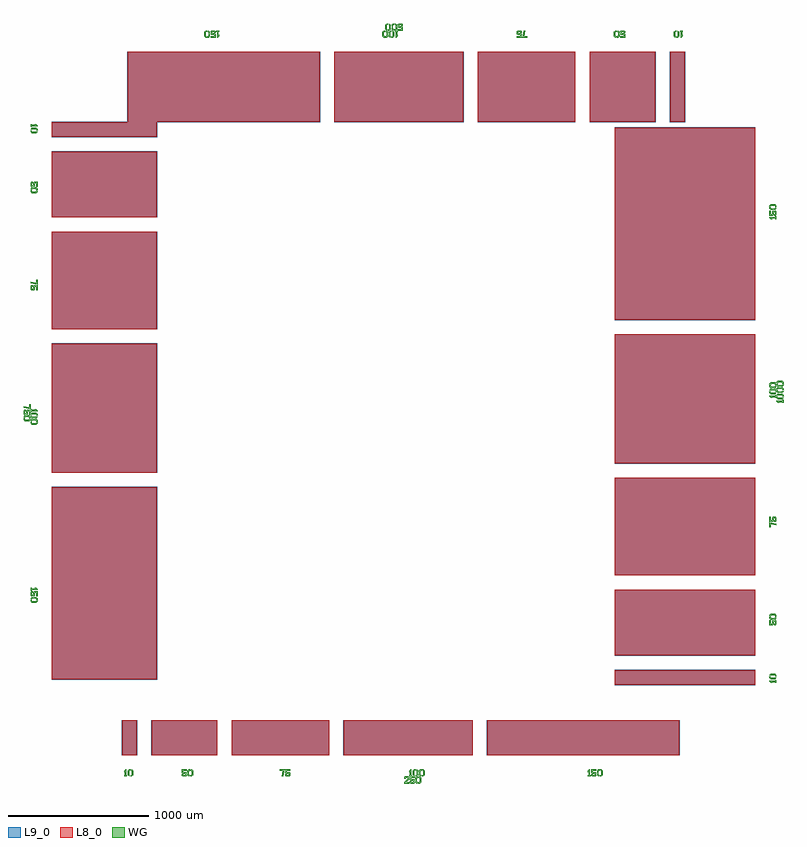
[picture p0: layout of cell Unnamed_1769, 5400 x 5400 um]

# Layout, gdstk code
from math import pi, radians
import gdstk
lib = gdstk.Library(unit=1e-6, precision=1e-09)
def R(c, l, rs):  # rectangles x0, y0, x1, y1
    for r in rs: c.add(gdstk.rectangle(r[:2], r[2:], *l))
def P(c, l, *ps):  # polygons
    for p in ps: c.add(gdstk.Polygon(p, *l))
WG = (1, 0)
L8_0 = (8, 0)
L9_0 = (9, 0)

unnamed_1767 = lib.new_cell('Unnamed_1767')

unnamed_1766 = lib.new_cell('Unnamed_1766')

unnamed_1763 = lib.new_cell('Unnamed_1763')

text_t1000_s50_p0_0_jlef = lib.new_cell('text_T1000_S50_P0_0_Jleft_L1_0')
P(text_t1000_s50_p0_0_jlef, WG, [(48.5,0),(51,10),(55,10),(60,15),(60,35),(55,40),(57.5,50),(60,50),(70,40),(70,10),(60,0)],
  [(93.5,0),(96,10),(100,10),(105,15),(105,35),(100,40),(102.5,50),(105,50),(115,40),(115,10),(105,0)],
  [(138.5,0),(141,10),(145,10),(150,15),(150,35),(145,40),(147.5,50),(150,50),(160,40),(160,10),(150,0)],
  [(40,0),(30,10),(30,40),(40,50),(51.5,50),(49,40),(45,40),(40,35),(40,15),(45,10),(42.5,0)],
  [(85,0),(75,10),(75,40),(85,50),(96.5,50),(94,40),(90,40),(85,35),(85,15),(90,10),(87.5,0)],
  [(130,0),(120,10),(120,40),(130,50),(141.5,50),(139,40),(135,40),(130,35),(130,15),(135,10),(132.5,0)],
  [(5,0),(5,10),(10,10),(10,30),(5,30),(5,40),(15,50),(20,50),(20,10),(25,10),(25,0)])

rectangle_s920_1000_l9__ = lib.new_cell('rectangle_S920_1000_L9__284379eb')
R(rectangle_s920_1000_l9__, L9_0, [(0,0,920,1000)])

text_t100_s50_p0_0_jleft = lib.new_cell('text_T100_S50_P0_0_Jleft_L1_0')
P(text_t100_s50_p0_0_jleft, WG, [(48.5,0),(51,10),(55,10),(60,15),(60,35),(55,40),(57.5,50),(60,50),(70,40),(70,10),(60,0)],
  [(93.5,0),(96,10),(100,10),(105,15),(105,35),(100,40),(102.5,50),(105,50),(115,40),(115,10),(105,0)],
  [(40,0),(30,10),(30,40),(40,50),(51.5,50),(49,40),(45,40),(40,35),(40,15),(45,10),(42.5,0)],
  [(85,0),(75,10),(75,40),(85,50),(96.5,50),(94,40),(90,40),(85,35),(85,15),(90,10),(87.5,0)],
  [(5,0),(5,10),(10,10),(10,30),(5,30),(5,40),(15,50),(20,50),(20,10),(25,10),(25,0)])

rectangle_s100_998_l8_0_ = lib.new_cell('rectangle_S100_998_L8_0_c306aa22')
R(rectangle_s100_998_l8_0_, L8_0, [(0,0,100,998)])

unnamed_1757 = lib.new_cell('Unnamed_1757')
unnamed_1757.add(gdstk.Reference(rectangle_s920_1000_l9__, (-2,0)))
unnamed_1757.add(gdstk.Reference(text_t100_s50_p0_0_jleft, (460,-150)))
unnamed_1757.add(gdstk.Reference(rectangle_s100_998_l8_0_, (0,0)))
unnamed_1757.add(gdstk.Reference(rectangle_s100_998_l8_0_, (102,0)))
unnamed_1757.add(gdstk.Reference(rectangle_s100_998_l8_0_, (204,0)))
unnamed_1757.add(gdstk.Reference(rectangle_s100_998_l8_0_, (306,0)))
unnamed_1757.add(gdstk.Reference(rectangle_s100_998_l8_0_, (408,0)))
unnamed_1757.add(gdstk.Reference(rectangle_s100_998_l8_0_, (510,0)))
unnamed_1757.add(gdstk.Reference(rectangle_s100_998_l8_0_, (612,0)))
unnamed_1757.add(gdstk.Reference(rectangle_s100_998_l8_0_, (714,0)))
unnamed_1757.add(gdstk.Reference(rectangle_s100_998_l8_0_, (816,0)))

rectangle_s695_1000_l9__ = lib.new_cell('rectangle_S695_1000_L9__77095997')
R(rectangle_s695_1000_l9__, L9_0, [(0,0,695,1000)])

text_t75_s50_p0_0_jleft_ = lib.new_cell('text_T75_S50_P0_0_Jleft_L1_0')
P(text_t75_s50_p0_0_jleft_, WG, [(50,0),(45,5),(45,15),(55,15),(55,10),(70,10),(70,20),(50,20),(45,25),(45,50),(80,50),(80,40),(55,40),(55,30),(75,30),(80,25),(80,5),(75,0)],
  [(20,0),(28,40),(5,40),(5,50),(40,50),(30,0)])

rectangle_s75_998_l8_0__ = lib.new_cell('rectangle_S75_998_L8_0__cc8ebacf')
R(rectangle_s75_998_l8_0__, L8_0, [(0,0,75,998)])

unnamed_1756 = lib.new_cell('Unnamed_1756')
unnamed_1756.add(gdstk.Reference(rectangle_s695_1000_l9__, (-2,0)))
unnamed_1756.add(gdstk.Reference(text_t75_s50_p0_0_jleft_, (335,-150)))
unnamed_1756.add(gdstk.Reference(rectangle_s75_998_l8_0__, (0,0)))
unnamed_1756.add(gdstk.Reference(rectangle_s75_998_l8_0__, (77,0)))
unnamed_1756.add(gdstk.Reference(rectangle_s75_998_l8_0__, (154,0)))
unnamed_1756.add(gdstk.Reference(rectangle_s75_998_l8_0__, (231,0)))
unnamed_1756.add(gdstk.Reference(rectangle_s75_998_l8_0__, (308,0)))
unnamed_1756.add(gdstk.Reference(rectangle_s75_998_l8_0__, (385,0)))
unnamed_1756.add(gdstk.Reference(rectangle_s75_998_l8_0__, (462,0)))
unnamed_1756.add(gdstk.Reference(rectangle_s75_998_l8_0__, (539,0)))
unnamed_1756.add(gdstk.Reference(rectangle_s75_998_l8_0__, (616,0)))

rectangle_s1370_1000_l9_ = lib.new_cell('rectangle_S1370_1000_L9_106310f3')
R(rectangle_s1370_1000_l9_, L9_0, [(0,0,1370,1000)])

text_t150_s50_p0_0_jleft = lib.new_cell('text_T150_S50_P0_0_Jleft_L1_0')
P(text_t150_s50_p0_0_jleft, WG, [(88.5,0),(91,10),(95,10),(100,15),(100,35),(95,40),(97.5,50),(100,50),(110,40),(110,10),(100,0)],
  [(80,0),(70,10),(70,40),(80,50),(91.5,50),(89,40),(85,40),(80,35),(80,15),(85,10),(82.5,0)],
  [(35,0),(30,5),(30,15),(40,15),(40,10),(55,10),(55,20),(35,20),(30,25),(30,50),(65,50),(65,40),(40,40),(40,30),(60,30),(65,25),(65,5),(60,0)],
  [(5,0),(5,10),(10,10),(10,30),(5,30),(5,40),(15,50),(20,50),(20,10),(25,10),(25,0)])

rectangle_s150_998_l8_0_ = lib.new_cell('rectangle_S150_998_L8_0_cd40ac17')
R(rectangle_s150_998_l8_0_, L8_0, [(0,0,150,998)])

unnamed_1758 = lib.new_cell('Unnamed_1758')
unnamed_1758.add(gdstk.Reference(rectangle_s1370_1000_l9_, (-2,0)))
unnamed_1758.add(gdstk.Reference(text_t150_s50_p0_0_jleft, (710,-150)))
unnamed_1758.add(gdstk.Reference(rectangle_s150_998_l8_0_, (0,0)))
unnamed_1758.add(gdstk.Reference(rectangle_s150_998_l8_0_, (152,0)))
unnamed_1758.add(gdstk.Reference(rectangle_s150_998_l8_0_, (304,0)))
unnamed_1758.add(gdstk.Reference(rectangle_s150_998_l8_0_, (456,0)))
unnamed_1758.add(gdstk.Reference(rectangle_s150_998_l8_0_, (608,0)))
unnamed_1758.add(gdstk.Reference(rectangle_s150_998_l8_0_, (760,0)))
unnamed_1758.add(gdstk.Reference(rectangle_s150_998_l8_0_, (912,0)))
unnamed_1758.add(gdstk.Reference(rectangle_s150_998_l8_0_, (1064,0)))
unnamed_1758.add(gdstk.Reference(rectangle_s150_998_l8_0_, (1216,0)))

rectangle_s470_1000_l9__ = lib.new_cell('rectangle_S470_1000_L9__a4fb5179')
R(rectangle_s470_1000_l9__, L9_0, [(0,0,470,1000)])

text_t50_s50_p0_0_jleft_ = lib.new_cell('text_T50_S50_P0_0_Jleft_L1_0')
P(text_t50_s50_p0_0_jleft_, WG, [(63.5,0),(66,10),(70,10),(75,15),(75,35),(70,40),(72.5,50),(75,50),(85,40),(85,10),(75,0)],
  [(55,0),(45,10),(45,40),(55,50),(66.5,50),(64,40),(60,40),(55,35),(55,15),(60,10),(57.5,0)],
  [(10,0),(5,5),(5,15),(15,15),(15,10),(30,10),(30,20),(10,20),(5,25),(5,50),(40,50),(40,40),(15,40),(15,30),(35,30),(40,25),(40,5),(35,0)])

rectangle_s50_998_l8_0__ = lib.new_cell('rectangle_S50_998_L8_0__a3cc393b')
R(rectangle_s50_998_l8_0__, L8_0, [(0,0,50,998)])

unnamed_1755 = lib.new_cell('Unnamed_1755')
unnamed_1755.add(gdstk.Reference(rectangle_s470_1000_l9__, (-2,0)))
unnamed_1755.add(gdstk.Reference(text_t50_s50_p0_0_jleft_, (210,-150)))
unnamed_1755.add(gdstk.Reference(rectangle_s50_998_l8_0__, (0,0)))
unnamed_1755.add(gdstk.Reference(rectangle_s50_998_l8_0__, (52,0)))
unnamed_1755.add(gdstk.Reference(rectangle_s50_998_l8_0__, (104,0)))
unnamed_1755.add(gdstk.Reference(rectangle_s50_998_l8_0__, (156,0)))
unnamed_1755.add(gdstk.Reference(rectangle_s50_998_l8_0__, (208,0)))
unnamed_1755.add(gdstk.Reference(rectangle_s50_998_l8_0__, (260,0)))
unnamed_1755.add(gdstk.Reference(rectangle_s50_998_l8_0__, (312,0)))
unnamed_1755.add(gdstk.Reference(rectangle_s50_998_l8_0__, (364,0)))
unnamed_1755.add(gdstk.Reference(rectangle_s50_998_l8_0__, (416,0)))

rectangle_s110_1000_l9__ = lib.new_cell('rectangle_S110_1000_L9__b1e598cb')
R(rectangle_s110_1000_l9__, L9_0, [(0,0,110,1000)])

text_t10_s50_p0_0_jleft_ = lib.new_cell('text_T10_S50_P0_0_Jleft_L1_0')
P(text_t10_s50_p0_0_jleft_, WG, [(48.5,0),(51,10),(55,10),(60,15),(60,35),(55,40),(57.5,50),(60,50),(70,40),(70,10),(60,0)],
  [(40,0),(30,10),(30,40),(40,50),(51.5,50),(49,40),(45,40),(40,35),(40,15),(45,10),(42.5,0)],
  [(5,0),(5,10),(10,10),(10,30),(5,30),(5,40),(15,50),(20,50),(20,10),(25,10),(25,0)])

rectangle_s10_998_l8_0__ = lib.new_cell('rectangle_S10_998_L8_0__618c10ad')
R(rectangle_s10_998_l8_0__, L8_0, [(0,0,10,998)])

unnamed_1754 = lib.new_cell('Unnamed_1754')
unnamed_1754.add(gdstk.Reference(rectangle_s110_1000_l9__, (-2,0)))
unnamed_1754.add(gdstk.Reference(text_t10_s50_p0_0_jleft_, (10,-150)))
unnamed_1754.add(gdstk.Reference(rectangle_s10_998_l8_0__, (0,0)))
unnamed_1754.add(gdstk.Reference(rectangle_s10_998_l8_0__, (12,0)))
unnamed_1754.add(gdstk.Reference(rectangle_s10_998_l8_0__, (24,0)))
unnamed_1754.add(gdstk.Reference(rectangle_s10_998_l8_0__, (36,0)))
unnamed_1754.add(gdstk.Reference(rectangle_s10_998_l8_0__, (48,0)))
unnamed_1754.add(gdstk.Reference(rectangle_s10_998_l8_0__, (60,0)))
unnamed_1754.add(gdstk.Reference(rectangle_s10_998_l8_0__, (72,0)))
unnamed_1754.add(gdstk.Reference(rectangle_s10_998_l8_0__, (84,0)))
unnamed_1754.add(gdstk.Reference(rectangle_s10_998_l8_0__, (96,0)))

unnamed_1762 = lib.new_cell('Unnamed_1762')
unnamed_1762.add(gdstk.Reference(text_t1000_s50_p0_0_jlef, (2500,-200)))
unnamed_1762.add(gdstk.Reference(unnamed_1757, (2075,0)))
unnamed_1762.add(gdstk.Reference(unnamed_1756, (1280,0)))
unnamed_1762.add(gdstk.Reference(unnamed_1758, (3095,0)))
unnamed_1762.add(gdstk.Reference(unnamed_1755, (710,0)))
unnamed_1762.add(gdstk.Reference(unnamed_1754, (500,0)))

unnamed_1764 = lib.new_cell('Unnamed_1764')

rectangle_s110_750_l9_0_ = lib.new_cell('rectangle_S110_750_L9_0_0d1aa5e2')
R(rectangle_s110_750_l9_0_, L9_0, [(0,0,110,750)])

rectangle_s10_748_l8_0__ = lib.new_cell('rectangle_S10_748_L8_0__afdd4900')
R(rectangle_s10_748_l8_0__, L8_0, [(0,0,10,748)])

unnamed_1749 = lib.new_cell('Unnamed_1749')
unnamed_1749.add(gdstk.Reference(rectangle_s110_750_l9_0_, (-2,0)))
unnamed_1749.add(gdstk.Reference(text_t10_s50_p0_0_jleft_, (10,-150)))
unnamed_1749.add(gdstk.Reference(rectangle_s10_748_l8_0__, (0,0)))
unnamed_1749.add(gdstk.Reference(rectangle_s10_748_l8_0__, (12,0)))
unnamed_1749.add(gdstk.Reference(rectangle_s10_748_l8_0__, (24,0)))
unnamed_1749.add(gdstk.Reference(rectangle_s10_748_l8_0__, (36,0)))
unnamed_1749.add(gdstk.Reference(rectangle_s10_748_l8_0__, (48,0)))
unnamed_1749.add(gdstk.Reference(rectangle_s10_748_l8_0__, (60,0)))
unnamed_1749.add(gdstk.Reference(rectangle_s10_748_l8_0__, (72,0)))
unnamed_1749.add(gdstk.Reference(rectangle_s10_748_l8_0__, (84,0)))
unnamed_1749.add(gdstk.Reference(rectangle_s10_748_l8_0__, (96,0)))

rectangle_s920_750_l9_0_ = lib.new_cell('rectangle_S920_750_L9_0_32778c05')
R(rectangle_s920_750_l9_0_, L9_0, [(0,0,920,750)])

rectangle_s100_748_l8_0_ = lib.new_cell('rectangle_S100_748_L8_0_e52924da')
R(rectangle_s100_748_l8_0_, L8_0, [(0,0,100,748)])

unnamed_1752 = lib.new_cell('Unnamed_1752')
unnamed_1752.add(gdstk.Reference(rectangle_s920_750_l9_0_, (-2,0)))
unnamed_1752.add(gdstk.Reference(text_t100_s50_p0_0_jleft, (460,-150)))
unnamed_1752.add(gdstk.Reference(rectangle_s100_748_l8_0_, (0,0)))
unnamed_1752.add(gdstk.Reference(rectangle_s100_748_l8_0_, (102,0)))
unnamed_1752.add(gdstk.Reference(rectangle_s100_748_l8_0_, (204,0)))
unnamed_1752.add(gdstk.Reference(rectangle_s100_748_l8_0_, (306,0)))
unnamed_1752.add(gdstk.Reference(rectangle_s100_748_l8_0_, (408,0)))
unnamed_1752.add(gdstk.Reference(rectangle_s100_748_l8_0_, (510,0)))
unnamed_1752.add(gdstk.Reference(rectangle_s100_748_l8_0_, (612,0)))
unnamed_1752.add(gdstk.Reference(rectangle_s100_748_l8_0_, (714,0)))
unnamed_1752.add(gdstk.Reference(rectangle_s100_748_l8_0_, (816,0)))

rectangle_s695_750_l9_0_ = lib.new_cell('rectangle_S695_750_L9_0_14645c84')
R(rectangle_s695_750_l9_0_, L9_0, [(0,0,695,750)])

rectangle_s75_748_l8_0__ = lib.new_cell('rectangle_S75_748_L8_0__21cc7b18')
R(rectangle_s75_748_l8_0__, L8_0, [(0,0,75,748)])

unnamed_1751 = lib.new_cell('Unnamed_1751')
unnamed_1751.add(gdstk.Reference(rectangle_s695_750_l9_0_, (-2,0)))
unnamed_1751.add(gdstk.Reference(text_t75_s50_p0_0_jleft_, (335,-150)))
unnamed_1751.add(gdstk.Reference(rectangle_s75_748_l8_0__, (0,0)))
unnamed_1751.add(gdstk.Reference(rectangle_s75_748_l8_0__, (77,0)))
unnamed_1751.add(gdstk.Reference(rectangle_s75_748_l8_0__, (154,0)))
unnamed_1751.add(gdstk.Reference(rectangle_s75_748_l8_0__, (231,0)))
unnamed_1751.add(gdstk.Reference(rectangle_s75_748_l8_0__, (308,0)))
unnamed_1751.add(gdstk.Reference(rectangle_s75_748_l8_0__, (385,0)))
unnamed_1751.add(gdstk.Reference(rectangle_s75_748_l8_0__, (462,0)))
unnamed_1751.add(gdstk.Reference(rectangle_s75_748_l8_0__, (539,0)))
unnamed_1751.add(gdstk.Reference(rectangle_s75_748_l8_0__, (616,0)))

rectangle_s1370_750_l9__ = lib.new_cell('rectangle_S1370_750_L9__3fc04380')
R(rectangle_s1370_750_l9__, L9_0, [(0,0,1370,750)])

rectangle_s150_748_l8_0_ = lib.new_cell('rectangle_S150_748_L8_0_392cc59f')
R(rectangle_s150_748_l8_0_, L8_0, [(0,0,150,748)])

unnamed_1753 = lib.new_cell('Unnamed_1753')
unnamed_1753.add(gdstk.Reference(rectangle_s1370_750_l9__, (-2,0)))
unnamed_1753.add(gdstk.Reference(text_t150_s50_p0_0_jleft, (710,-150)))
unnamed_1753.add(gdstk.Reference(rectangle_s150_748_l8_0_, (0,0)))
unnamed_1753.add(gdstk.Reference(rectangle_s150_748_l8_0_, (152,0)))
unnamed_1753.add(gdstk.Reference(rectangle_s150_748_l8_0_, (304,0)))
unnamed_1753.add(gdstk.Reference(rectangle_s150_748_l8_0_, (456,0)))
unnamed_1753.add(gdstk.Reference(rectangle_s150_748_l8_0_, (608,0)))
unnamed_1753.add(gdstk.Reference(rectangle_s150_748_l8_0_, (760,0)))
unnamed_1753.add(gdstk.Reference(rectangle_s150_748_l8_0_, (912,0)))
unnamed_1753.add(gdstk.Reference(rectangle_s150_748_l8_0_, (1064,0)))
unnamed_1753.add(gdstk.Reference(rectangle_s150_748_l8_0_, (1216,0)))

text_t750_s50_p0_0_jleft = lib.new_cell('text_T750_S50_P0_0_Jleft_L1_0')
P(text_t750_s50_p0_0_jleft, WG, [(95,0),(85,10),(85,40),(95,50),(106.5,50),(104,40),(100,40),(95,35),(95,15),(100,10),(97.5,0)],
  [(50,0),(45,5),(45,15),(55,15),(55,10),(70,10),(70,20),(50,20),(45,25),(45,50),(80,50),(80,40),(55,40),(55,30),(75,30),(80,25),(80,5),(75,0)],
  [(103.5,0),(106,10),(110,10),(115,15),(115,35),(110,40),(112.5,50),(115,50),(125,40),(125,10),(115,0)],
  [(20,0),(28,40),(5,40),(5,50),(40,50),(30,0)])

rectangle_s470_750_l9_0_ = lib.new_cell('rectangle_S470_750_L9_0_3e5a7c6d')
R(rectangle_s470_750_l9_0_, L9_0, [(0,0,470,750)])

rectangle_s50_748_l8_0__ = lib.new_cell('rectangle_S50_748_L8_0__e69bb82a')
R(rectangle_s50_748_l8_0__, L8_0, [(0,0,50,748)])

unnamed_1750 = lib.new_cell('Unnamed_1750')
unnamed_1750.add(gdstk.Reference(rectangle_s470_750_l9_0_, (-2,0)))
unnamed_1750.add(gdstk.Reference(text_t50_s50_p0_0_jleft_, (210,-150)))
unnamed_1750.add(gdstk.Reference(rectangle_s50_748_l8_0__, (0,0)))
unnamed_1750.add(gdstk.Reference(rectangle_s50_748_l8_0__, (52,0)))
unnamed_1750.add(gdstk.Reference(rectangle_s50_748_l8_0__, (104,0)))
unnamed_1750.add(gdstk.Reference(rectangle_s50_748_l8_0__, (156,0)))
unnamed_1750.add(gdstk.Reference(rectangle_s50_748_l8_0__, (208,0)))
unnamed_1750.add(gdstk.Reference(rectangle_s50_748_l8_0__, (260,0)))
unnamed_1750.add(gdstk.Reference(rectangle_s50_748_l8_0__, (312,0)))
unnamed_1750.add(gdstk.Reference(rectangle_s50_748_l8_0__, (364,0)))
unnamed_1750.add(gdstk.Reference(rectangle_s50_748_l8_0__, (416,0)))

unnamed_1761 = lib.new_cell('Unnamed_1761')
unnamed_1761.add(gdstk.Reference(unnamed_1749, (500,0)))
unnamed_1761.add(gdstk.Reference(unnamed_1752, (2075,0)))
unnamed_1761.add(gdstk.Reference(unnamed_1751, (1280,0)))
unnamed_1761.add(gdstk.Reference(unnamed_1753, (3095,0)))
unnamed_1761.add(gdstk.Reference(text_t750_s50_p0_0_jleft, (2500,-200)))
unnamed_1761.add(gdstk.Reference(unnamed_1750, (710,0)))

rectangle_s920_500_l9_0_ = lib.new_cell('rectangle_S920_500_L9_0_e7e50f14')
R(rectangle_s920_500_l9_0_, L9_0, [(0,0,920,500)])

rectangle_s100_498_l8_0_ = lib.new_cell('rectangle_S100_498_L8_0_8e44272a')
R(rectangle_s100_498_l8_0_, L8_0, [(0,0,100,498)])

unnamed_1747 = lib.new_cell('Unnamed_1747')
unnamed_1747.add(gdstk.Reference(rectangle_s920_500_l9_0_, (-2,0)))
unnamed_1747.add(gdstk.Reference(text_t100_s50_p0_0_jleft, (460,-150)))
unnamed_1747.add(gdstk.Reference(rectangle_s100_498_l8_0_, (0,0)))
unnamed_1747.add(gdstk.Reference(rectangle_s100_498_l8_0_, (102,0)))
unnamed_1747.add(gdstk.Reference(rectangle_s100_498_l8_0_, (204,0)))
unnamed_1747.add(gdstk.Reference(rectangle_s100_498_l8_0_, (306,0)))
unnamed_1747.add(gdstk.Reference(rectangle_s100_498_l8_0_, (408,0)))
unnamed_1747.add(gdstk.Reference(rectangle_s100_498_l8_0_, (510,0)))
unnamed_1747.add(gdstk.Reference(rectangle_s100_498_l8_0_, (612,0)))
unnamed_1747.add(gdstk.Reference(rectangle_s100_498_l8_0_, (714,0)))
unnamed_1747.add(gdstk.Reference(rectangle_s100_498_l8_0_, (816,0)))

rectangle_s695_500_l9_0_ = lib.new_cell('rectangle_S695_500_L9_0_1ae41fd4')
R(rectangle_s695_500_l9_0_, L9_0, [(0,0,695,500)])

rectangle_s75_498_l8_0__ = lib.new_cell('rectangle_S75_498_L8_0__5f6cecd9')
R(rectangle_s75_498_l8_0__, L8_0, [(0,0,75,498)])

unnamed_1746 = lib.new_cell('Unnamed_1746')
unnamed_1746.add(gdstk.Reference(rectangle_s695_500_l9_0_, (-2,0)))
unnamed_1746.add(gdstk.Reference(text_t75_s50_p0_0_jleft_, (335,-150)))
unnamed_1746.add(gdstk.Reference(rectangle_s75_498_l8_0__, (0,0)))
unnamed_1746.add(gdstk.Reference(rectangle_s75_498_l8_0__, (77,0)))
unnamed_1746.add(gdstk.Reference(rectangle_s75_498_l8_0__, (154,0)))
unnamed_1746.add(gdstk.Reference(rectangle_s75_498_l8_0__, (231,0)))
unnamed_1746.add(gdstk.Reference(rectangle_s75_498_l8_0__, (308,0)))
unnamed_1746.add(gdstk.Reference(rectangle_s75_498_l8_0__, (385,0)))
unnamed_1746.add(gdstk.Reference(rectangle_s75_498_l8_0__, (462,0)))
unnamed_1746.add(gdstk.Reference(rectangle_s75_498_l8_0__, (539,0)))
unnamed_1746.add(gdstk.Reference(rectangle_s75_498_l8_0__, (616,0)))

text_t500_s50_p0_0_jleft = lib.new_cell('text_T500_S50_P0_0_Jleft_L1_0')
P(text_t500_s50_p0_0_jleft, WG, [(63.5,0),(66,10),(70,10),(75,15),(75,35),(70,40),(72.5,50),(75,50),(85,40),(85,10),(75,0)],
  [(108.5,0),(111,10),(115,10),(120,15),(120,35),(115,40),(117.5,50),(120,50),(130,40),(130,10),(120,0)],
  [(55,0),(45,10),(45,40),(55,50),(66.5,50),(64,40),(60,40),(55,35),(55,15),(60,10),(57.5,0)],
  [(100,0),(90,10),(90,40),(100,50),(111.5,50),(109,40),(105,40),(100,35),(100,15),(105,10),(102.5,0)],
  [(10,0),(5,5),(5,15),(15,15),(15,10),(30,10),(30,20),(10,20),(5,25),(5,50),(40,50),(40,40),(15,40),(15,30),(35,30),(40,25),(40,5),(35,0)])

rectangle_s1370_500_l9__ = lib.new_cell('rectangle_S1370_500_L9__5971b1e9')
R(rectangle_s1370_500_l9__, L9_0, [(0,0,1370,500)])

rectangle_s150_498_l8_0_ = lib.new_cell('rectangle_S150_498_L8_0_3344f8a4')
R(rectangle_s150_498_l8_0_, L8_0, [(0,0,150,498)])

unnamed_1748 = lib.new_cell('Unnamed_1748')
unnamed_1748.add(gdstk.Reference(text_t150_s50_p0_0_jleft, (710,-150)))
unnamed_1748.add(gdstk.Reference(rectangle_s1370_500_l9__, (-2,0)))
unnamed_1748.add(gdstk.Reference(rectangle_s150_498_l8_0_, (0,0)))
unnamed_1748.add(gdstk.Reference(rectangle_s150_498_l8_0_, (152,0)))
unnamed_1748.add(gdstk.Reference(rectangle_s150_498_l8_0_, (304,0)))
unnamed_1748.add(gdstk.Reference(rectangle_s150_498_l8_0_, (456,0)))
unnamed_1748.add(gdstk.Reference(rectangle_s150_498_l8_0_, (608,0)))
unnamed_1748.add(gdstk.Reference(rectangle_s150_498_l8_0_, (760,0)))
unnamed_1748.add(gdstk.Reference(rectangle_s150_498_l8_0_, (912,0)))
unnamed_1748.add(gdstk.Reference(rectangle_s150_498_l8_0_, (1064,0)))
unnamed_1748.add(gdstk.Reference(rectangle_s150_498_l8_0_, (1216,0)))

rectangle_s470_500_l9_0_ = lib.new_cell('rectangle_S470_500_L9_0_f8156cb1')
R(rectangle_s470_500_l9_0_, L9_0, [(0,0,470,500)])

rectangle_s50_498_l8_0__ = lib.new_cell('rectangle_S50_498_L8_0__cadecadc')
R(rectangle_s50_498_l8_0__, L8_0, [(0,0,50,498)])

unnamed_1745 = lib.new_cell('Unnamed_1745')
unnamed_1745.add(gdstk.Reference(rectangle_s470_500_l9_0_, (-2,0)))
unnamed_1745.add(gdstk.Reference(text_t50_s50_p0_0_jleft_, (210,-150)))
unnamed_1745.add(gdstk.Reference(rectangle_s50_498_l8_0__, (0,0)))
unnamed_1745.add(gdstk.Reference(rectangle_s50_498_l8_0__, (52,0)))
unnamed_1745.add(gdstk.Reference(rectangle_s50_498_l8_0__, (104,0)))
unnamed_1745.add(gdstk.Reference(rectangle_s50_498_l8_0__, (156,0)))
unnamed_1745.add(gdstk.Reference(rectangle_s50_498_l8_0__, (208,0)))
unnamed_1745.add(gdstk.Reference(rectangle_s50_498_l8_0__, (260,0)))
unnamed_1745.add(gdstk.Reference(rectangle_s50_498_l8_0__, (312,0)))
unnamed_1745.add(gdstk.Reference(rectangle_s50_498_l8_0__, (364,0)))
unnamed_1745.add(gdstk.Reference(rectangle_s50_498_l8_0__, (416,0)))

rectangle_s110_500_l9_0_ = lib.new_cell('rectangle_S110_500_L9_0_3497d986')
R(rectangle_s110_500_l9_0_, L9_0, [(0,0,110,500)])

rectangle_s10_498_l8_0__ = lib.new_cell('rectangle_S10_498_L8_0__ad3ec932')
R(rectangle_s10_498_l8_0__, L8_0, [(0,0,10,498)])

unnamed_1744 = lib.new_cell('Unnamed_1744')
unnamed_1744.add(gdstk.Reference(rectangle_s110_500_l9_0_, (-2,0)))
unnamed_1744.add(gdstk.Reference(text_t10_s50_p0_0_jleft_, (10,-150)))
unnamed_1744.add(gdstk.Reference(rectangle_s10_498_l8_0__, (0,0)))
unnamed_1744.add(gdstk.Reference(rectangle_s10_498_l8_0__, (12,0)))
unnamed_1744.add(gdstk.Reference(rectangle_s10_498_l8_0__, (24,0)))
unnamed_1744.add(gdstk.Reference(rectangle_s10_498_l8_0__, (36,0)))
unnamed_1744.add(gdstk.Reference(rectangle_s10_498_l8_0__, (48,0)))
unnamed_1744.add(gdstk.Reference(rectangle_s10_498_l8_0__, (60,0)))
unnamed_1744.add(gdstk.Reference(rectangle_s10_498_l8_0__, (72,0)))
unnamed_1744.add(gdstk.Reference(rectangle_s10_498_l8_0__, (84,0)))
unnamed_1744.add(gdstk.Reference(rectangle_s10_498_l8_0__, (96,0)))

unnamed_1760 = lib.new_cell('Unnamed_1760')
unnamed_1760.add(gdstk.Reference(unnamed_1747, (2075,0)))
unnamed_1760.add(gdstk.Reference(unnamed_1746, (1280,0)))
unnamed_1760.add(gdstk.Reference(text_t500_s50_p0_0_jleft, (2500,-200)))
unnamed_1760.add(gdstk.Reference(unnamed_1748, (3095,0)))
unnamed_1760.add(gdstk.Reference(unnamed_1745, (710,0)))
unnamed_1760.add(gdstk.Reference(unnamed_1744, (500,0)))

unnamed_1768 = lib.new_cell('Unnamed_1768')

unnamed_1765 = lib.new_cell('Unnamed_1765')

text_t250_s50_p0_0_jleft = lib.new_cell('text_T250_S50_P0_0_Jleft_L1_0')
P(text_t250_s50_p0_0_jleft, WG, [(95,0),(85,10),(85,40),(95,50),(106.5,50),(104,40),(100,40),(95,35),(95,15),(100,10),(97.5,0)],
  [(50,0),(45,5),(45,15),(55,15),(55,10),(70,10),(70,20),(50,20),(45,25),(45,50),(80,50),(80,40),(55,40),(55,30),(75,30),(80,25),(80,5),(75,0)],
  [(103.5,0),(106,10),(110,10),(115,15),(115,35),(110,40),(112.5,50),(115,50),(125,40),(125,10),(115,0)],
  [(5,0),(5,10),(30,35),(30,40),(15,40),(15,35),(5,35),(5,45),(10,50),(35,50),(40,45),(40,30),(20,10),(40,10),(40,0)])

rectangle_s1370_250_l9__ = lib.new_cell('rectangle_S1370_250_L9__a3b011a3')
R(rectangle_s1370_250_l9__, L9_0, [(0,0,1370,250)])

rectangle_s150_248_l8_0_ = lib.new_cell('rectangle_S150_248_L8_0_45914063')
R(rectangle_s150_248_l8_0_, L8_0, [(0,0,150,248)])

unnamed_1743 = lib.new_cell('Unnamed_1743')
unnamed_1743.add(gdstk.Reference(rectangle_s1370_250_l9__, (-2,0)))
unnamed_1743.add(gdstk.Reference(text_t150_s50_p0_0_jleft, (710,-150)))
unnamed_1743.add(gdstk.Reference(rectangle_s150_248_l8_0_, (0,0)))
unnamed_1743.add(gdstk.Reference(rectangle_s150_248_l8_0_, (152,0)))
unnamed_1743.add(gdstk.Reference(rectangle_s150_248_l8_0_, (304,0)))
unnamed_1743.add(gdstk.Reference(rectangle_s150_248_l8_0_, (456,0)))
unnamed_1743.add(gdstk.Reference(rectangle_s150_248_l8_0_, (608,0)))
unnamed_1743.add(gdstk.Reference(rectangle_s150_248_l8_0_, (760,0)))
unnamed_1743.add(gdstk.Reference(rectangle_s150_248_l8_0_, (912,0)))
unnamed_1743.add(gdstk.Reference(rectangle_s150_248_l8_0_, (1064,0)))
unnamed_1743.add(gdstk.Reference(rectangle_s150_248_l8_0_, (1216,0)))

rectangle_s695_250_l9_0_ = lib.new_cell('rectangle_S695_250_L9_0_e4008ba6')
R(rectangle_s695_250_l9_0_, L9_0, [(0,0,695,250)])

rectangle_s75_248_l8_0__ = lib.new_cell('rectangle_S75_248_L8_0__2b17ab04')
R(rectangle_s75_248_l8_0__, L8_0, [(0,0,75,248)])

unnamed_1741 = lib.new_cell('Unnamed_1741')
unnamed_1741.add(gdstk.Reference(rectangle_s695_250_l9_0_, (-2,0)))
unnamed_1741.add(gdstk.Reference(text_t75_s50_p0_0_jleft_, (335,-150)))
unnamed_1741.add(gdstk.Reference(rectangle_s75_248_l8_0__, (0,0)))
unnamed_1741.add(gdstk.Reference(rectangle_s75_248_l8_0__, (77,0)))
unnamed_1741.add(gdstk.Reference(rectangle_s75_248_l8_0__, (154,0)))
unnamed_1741.add(gdstk.Reference(rectangle_s75_248_l8_0__, (231,0)))
unnamed_1741.add(gdstk.Reference(rectangle_s75_248_l8_0__, (308,0)))
unnamed_1741.add(gdstk.Reference(rectangle_s75_248_l8_0__, (385,0)))
unnamed_1741.add(gdstk.Reference(rectangle_s75_248_l8_0__, (462,0)))
unnamed_1741.add(gdstk.Reference(rectangle_s75_248_l8_0__, (539,0)))
unnamed_1741.add(gdstk.Reference(rectangle_s75_248_l8_0__, (616,0)))

rectangle_s470_250_l9_0_ = lib.new_cell('rectangle_S470_250_L9_0_21b068b2')
R(rectangle_s470_250_l9_0_, L9_0, [(0,0,470,250)])

rectangle_s50_248_l8_0__ = lib.new_cell('rectangle_S50_248_L8_0__6a217ae2')
R(rectangle_s50_248_l8_0__, L8_0, [(0,0,50,248)])

unnamed_1740 = lib.new_cell('Unnamed_1740')
unnamed_1740.add(gdstk.Reference(text_t50_s50_p0_0_jleft_, (210,-150)))
unnamed_1740.add(gdstk.Reference(rectangle_s470_250_l9_0_, (-2,0)))
unnamed_1740.add(gdstk.Reference(rectangle_s50_248_l8_0__, (0,0)))
unnamed_1740.add(gdstk.Reference(rectangle_s50_248_l8_0__, (52,0)))
unnamed_1740.add(gdstk.Reference(rectangle_s50_248_l8_0__, (104,0)))
unnamed_1740.add(gdstk.Reference(rectangle_s50_248_l8_0__, (156,0)))
unnamed_1740.add(gdstk.Reference(rectangle_s50_248_l8_0__, (208,0)))
unnamed_1740.add(gdstk.Reference(rectangle_s50_248_l8_0__, (260,0)))
unnamed_1740.add(gdstk.Reference(rectangle_s50_248_l8_0__, (312,0)))
unnamed_1740.add(gdstk.Reference(rectangle_s50_248_l8_0__, (364,0)))
unnamed_1740.add(gdstk.Reference(rectangle_s50_248_l8_0__, (416,0)))

rectangle_s920_250_l9_0_ = lib.new_cell('rectangle_S920_250_L9_0_6d8bc743')
R(rectangle_s920_250_l9_0_, L9_0, [(0,0,920,250)])

rectangle_s100_248_l8_0_ = lib.new_cell('rectangle_S100_248_L8_0_ec6efe2a')
R(rectangle_s100_248_l8_0_, L8_0, [(0,0,100,248)])

unnamed_1742 = lib.new_cell('Unnamed_1742')
unnamed_1742.add(gdstk.Reference(rectangle_s920_250_l9_0_, (-2,0)))
unnamed_1742.add(gdstk.Reference(text_t100_s50_p0_0_jleft, (460,-150)))
unnamed_1742.add(gdstk.Reference(rectangle_s100_248_l8_0_, (0,0)))
unnamed_1742.add(gdstk.Reference(rectangle_s100_248_l8_0_, (102,0)))
unnamed_1742.add(gdstk.Reference(rectangle_s100_248_l8_0_, (204,0)))
unnamed_1742.add(gdstk.Reference(rectangle_s100_248_l8_0_, (306,0)))
unnamed_1742.add(gdstk.Reference(rectangle_s100_248_l8_0_, (408,0)))
unnamed_1742.add(gdstk.Reference(rectangle_s100_248_l8_0_, (510,0)))
unnamed_1742.add(gdstk.Reference(rectangle_s100_248_l8_0_, (612,0)))
unnamed_1742.add(gdstk.Reference(rectangle_s100_248_l8_0_, (714,0)))
unnamed_1742.add(gdstk.Reference(rectangle_s100_248_l8_0_, (816,0)))

rectangle_s110_250_l9_0_ = lib.new_cell('rectangle_S110_250_L9_0_ed3c4817')
R(rectangle_s110_250_l9_0_, L9_0, [(0,0,110,250)])

rectangle_s10_248_l8_0__ = lib.new_cell('rectangle_S10_248_L8_0__7390707e')
R(rectangle_s10_248_l8_0__, L8_0, [(0,0,10,248)])

unnamed_1739 = lib.new_cell('Unnamed_1739')
unnamed_1739.add(gdstk.Reference(rectangle_s110_250_l9_0_, (-2,0)))
unnamed_1739.add(gdstk.Reference(text_t10_s50_p0_0_jleft_, (10,-150)))
unnamed_1739.add(gdstk.Reference(rectangle_s10_248_l8_0__, (0,0)))
unnamed_1739.add(gdstk.Reference(rectangle_s10_248_l8_0__, (12,0)))
unnamed_1739.add(gdstk.Reference(rectangle_s10_248_l8_0__, (24,0)))
unnamed_1739.add(gdstk.Reference(rectangle_s10_248_l8_0__, (36,0)))
unnamed_1739.add(gdstk.Reference(rectangle_s10_248_l8_0__, (48,0)))
unnamed_1739.add(gdstk.Reference(rectangle_s10_248_l8_0__, (60,0)))
unnamed_1739.add(gdstk.Reference(rectangle_s10_248_l8_0__, (72,0)))
unnamed_1739.add(gdstk.Reference(rectangle_s10_248_l8_0__, (84,0)))
unnamed_1739.add(gdstk.Reference(rectangle_s10_248_l8_0__, (96,0)))

unnamed_1759 = lib.new_cell('Unnamed_1759')
unnamed_1759.add(gdstk.Reference(text_t250_s50_p0_0_jleft, (2500,-200)))
unnamed_1759.add(gdstk.Reference(unnamed_1743, (3095,0)))
unnamed_1759.add(gdstk.Reference(unnamed_1741, (1280,0)))
unnamed_1759.add(gdstk.Reference(unnamed_1740, (710,0)))
unnamed_1759.add(gdstk.Reference(unnamed_1742, (2075,0)))
unnamed_1759.add(gdstk.Reference(unnamed_1739, (500,0)))

unnamed_1769 = lib.new_cell('Unnamed_1769')
unnamed_1769.add(gdstk.Reference(unnamed_1767, (5000,0), rotation=pi/2))
unnamed_1769.add(gdstk.Reference(unnamed_1766, (5000,0), rotation=pi/2))
unnamed_1769.add(gdstk.Reference(unnamed_1763, (5000,0), rotation=pi/2))
unnamed_1769.add(gdstk.Reference(unnamed_1762, (5000,0), rotation=pi/2))
unnamed_1769.add(gdstk.Reference(unnamed_1764, (5000,0), rotation=pi/2))
unnamed_1769.add(gdstk.Reference(unnamed_1761, (0,5000), rotation=3*pi/2))
unnamed_1769.add(gdstk.Reference(unnamed_1760, (5000,5000), rotation=pi))
unnamed_1769.add(gdstk.Reference(unnamed_1768, (5000,0), rotation=pi/2))
unnamed_1769.add(gdstk.Reference(unnamed_1765, (5000,0), rotation=pi/2))
unnamed_1769.add(gdstk.Reference(unnamed_1759, (0,0)))

lib.write_gds('Unnamed_1769.gds')
